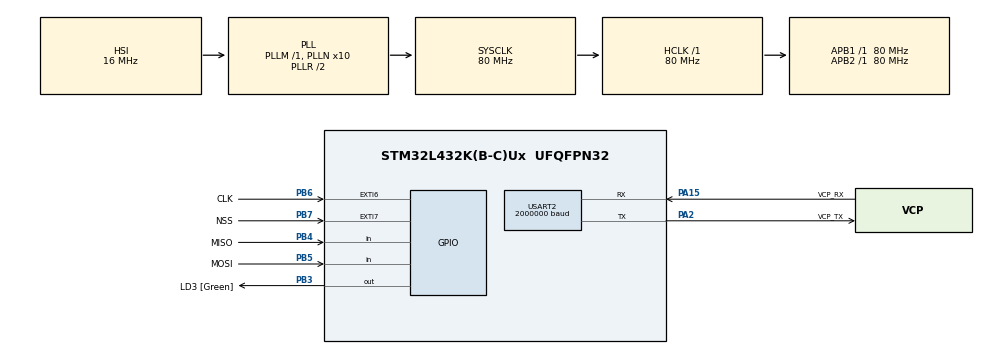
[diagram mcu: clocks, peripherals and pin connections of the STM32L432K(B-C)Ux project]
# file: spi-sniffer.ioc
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Mcu.Family=STM32L4
Mcu.Name=STM32L432K(B-C)Ux
Mcu.Package=UFQFPN32
NVIC.EXTI9_5_IRQn=true\:0\:0\:false\:false\:true\:true
NVIC.PriorityGroup=NVIC_PRIORITYGROUP_4
PA0.GPIO_Label=MCO [High speed clock in]
PA0.Mode=HSE-External-Clock-Source-for-LittleOrca
PA0.Signal=RCC_CK_IN
PA13\ (JTMS-SWDIO).GPIO_Label=SWDIO
PA13\ (JTMS-SWDIO).Mode=Serial_Wire
PA13\ (JTMS-SWDIO).Signal=SYS_JTMS-SWDIO
PA14\ (JTCK-SWCLK).GPIO_Label=SWCLK
PA14\ (JTCK-SWCLK).Mode=Serial_Wire
PA14\ (JTCK-SWCLK).Signal=SYS_JTCK-SWCLK
PA15\ (JTDI).GPIO_Label=VCP_RX
PA15\ (JTDI).Mode=Asynchronous
PA15\ (JTDI).Signal=USART2_RX
PA2.GPIO_Label=VCP_TX
PA2.Mode=Asynchronous
PA2.Signal=USART2_TX
PB3\ (JTDO-TRACESWO).GPIO_Label=LD3 [Green]
PB3\ (JTDO-TRACESWO).Signal=GPIO_Output
PB4\ (NJTRST).GPIO_Label=MISO
PB4\ (NJTRST).Signal=GPIO_Input
PB5.GPIO_Label=MOSI
PB5.Signal=GPIO_Input
PB6.GPIO_Label=CLK
PB6.GPIO_ModeDefaultEXTI=GPIO_MODE_IT_RISING
PB6.GPIO_PuPd=GPIO_PULLUP
PB6.Signal=GPXTI6
PB7.GPIO_Label=NSS
PB7.GPIO_ModeDefaultEXTI=GPIO_MODE_IT_RISING_FALLING
PB7.Signal=GPXTI7
PC14-OSC32_IN\ (PC14).Mode=LSE-External-Oscillator
PC14-OSC32_IN\ (PC14).Signal=RCC_OSC32_IN
PC15-OSC32_OUT\ (PC15).Mode=LSE-External-Oscillator
PC15-OSC32_OUT\ (PC15).Signal=RCC_OSC32_OUT
ProjectManager.HeapSize=0x200
ProjectManager.StackSize=0x400
ProjectManager.TargetToolchain=TrueSTUDIO
RCC.ADCFreq_Value=64000000
RCC.AHBFreq_Value=80000000
RCC.APB1Freq_Value=80000000
RCC.APB1TimFreq_Value=80000000
RCC.APB2Freq_Value=80000000
RCC.APB2TimFreq_Value=80000000
RCC.CortexFreq_Value=80000000
RCC.HCLKFreq_Value=80000000
RCC.HSE_VALUE=8000000
RCC.HSI16_VALUE=16000000
RCC.HSI48_VALUE=48000000
RCC.HSI_VALUE=16000000
RCC.MSI_VALUE=4000000
RCC.PLLMUL=RCC_PLLMUL_4
RCC.PLLN=10
RCC.PLLSourceVirtual=RCC_PLLSOURCE_HSI
RCC.SYSCLKFreq_VALUE=80000000
RCC.SYSCLKSource=RCC_SYSCLKSOURCE_PLLCLK
RCC.USBFreq_Value=64000000
RCC.VCOOutputFreq_Value=160000000
USART2.BaudRate=2000000
USART2.VirtualMode-Asynchronous=VM_ASYNC
board=NUCLEO-L432KC

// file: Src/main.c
/**
  ******************************************************************************
  * @file           : main.c
  * @brief          : Main program body
  ******************************************************************************
  ** This notice applies to any and all portions of this file
  * that are not between comment pairs USER CODE BEGIN and
  * USER CODE END. Other portions of this file, whether
  * inserted by the user or by software development tools
  * are owned by their respective copyright owners.
  *
  * COPYRIGHT(c) 2018 STMicroelectronics
  *
  * Redistribution and use in source and binary forms, with or without modification,
  * are permitted provided that the following conditions are met:
  *   1. Redistributions of source code must retain the above copyright notice,
  *      this list of conditions and the following disclaimer.
  *   2. Redistributions in binary form must reproduce the above copyright notice,
  *      this list of conditions and the following disclaimer in the documentation
  *      and/or other materials provided with the distribution.
  *   3. Neither the name of STMicroelectronics nor the names of its contributors
  *      may be used to endorse or promote products derived from this software
  *      without specific prior written permission.
  *
  * THIS SOFTWARE IS PROVIDED BY THE COPYRIGHT HOLDERS AND CONTRIBUTORS "AS IS"
  * AND ANY EXPRESS OR IMPLIED WARRANTIES, INCLUDING, BUT NOT LIMITED TO, THE
  * IMPLIED WARRANTIES OF MERCHANTABILITY AND FITNESS FOR A PARTICULAR PURPOSE ARE
  * DISCLAIMED. IN NO EVENT SHALL THE COPYRIGHT HOLDER OR CONTRIBUTORS BE LIABLE
  * FOR ANY DIRECT, INDIRECT, INCIDENTAL, SPECIAL, EXEMPLARY, OR CONSEQUENTIAL
  * DAMAGES (INCLUDING, BUT NOT LIMITED TO, PROCUREMENT OF SUBSTITUTE GOODS OR
  * SERVICES; LOSS OF USE, DATA, OR PROFITS; OR BUSINESS INTERRUPTION) HOWEVER
  * CAUSED AND ON ANY THEORY OF LIABILITY, WHETHER IN CONTRACT, STRICT LIABILITY,
  * OR TORT (INCLUDING NEGLIGENCE OR OTHERWISE) ARISING IN ANY WAY OUT OF THE USE
  * OF THIS SOFTWARE, EVEN IF ADVISED OF THE POSSIBILITY OF SUCH DAMAGE.
  *
  ******************************************************************************
  */
#include "main.h"
#include "stm32l4xx_hal.h"

/* USER CODE BEGIN Includes */
#include "uart.h"
#include "string.h"
/* USER CODE END Includes */

UART_HandleTypeDef huart2;

/* USER CODE BEGIN PV */
/* Private variables ---------------------------------------------------------*/
uint8_t currentMISO;
uint8_t currentMOSI;
uint8_t bitsFilled = 0;

uint8_t resetCaused = 0;
uint8_t overSized = 0;

#define HIDE_FF 0 // Hide 0xff values (set to 2 to make them blue)
#define DISPLAYSIZE 16 // Amount of data to display by default
#define STORESIZE 3 * 16 // Amount of data to store
uint8_t miso[STORESIZE]; // Safety margin for memory allocation
uint8_t mosi[STORESIZE];
volatile uint16_t displayPosition = 0;

uint8_t nssTrigger[STORESIZE] = { 0 };
/* USER CODE END PV */

void SystemClock_Config(void);
static void MX_GPIO_Init(void);
static void MX_USART2_UART_Init(void);

/* USER CODE BEGIN PFP */
/* Private function prototypes -----------------------------------------------*/
inline static void printOneChar(uint8_t character, uint8_t isMOSI) {
#if (HIDE_FF == 1)
	if (character == 0xff) {
		UART_printf("  ");
	} else {
		UART_printf("%02x", character);
	}
#elif (HIDE_FF == 2)
	if (character == 0xff) {
		if (isMOSI) {
			UART_printf("\e[34m%02x\e[33m", character);
		} else {
			UART_printf("\e[34m%02x\e[36m", character);
		}
	} else {
		UART_printf("%02x", character);
	}
#else
	UART_printf("%02x", character);
#endif
}

inline static void printNSS(uint8_t nss, uint8_t isMOSI) {
	if (nss & 0x08) { // NSS asserted
		if (nss & 0x03) { // NSS changed between two states
			if (nss & 0x04) { // NSS last value was HIGH
				if (isMOSI) {
					UART_printf("\e[31m\u292f\e[33m");
				} else {
					UART_printf("\e[31m\u292f\e[36m");
				}
			} else { // NSS last value was LOW
				if (isMOSI) {
					UART_printf("\e[32m\u2930\e[33m");
				} else {
					UART_printf("\e[32m\u2930\e[36m");
				}
			}
		} else if (nss & 0x01) { // NSS value was LOW
			if (isMOSI) {
				UART_printf("\e[32m\u2925\e[33m");
			} else {
				UART_printf("\e[32m\u2925\e[36m");
			}
		} else if (nss & 0x02) { // NSS value was HIGH
			if (isMOSI) {
				UART_printf("\e[31m\u2924\e[33m");
			} else {
				UART_printf("\e[31m\u2924\e[36m");
			}
		}
	} else {
		UART_printf(" ");
	}
}
/* USER CODE END PFP */

/* USER CODE BEGIN 0 */
void HAL_GPIO_EXTI_Callback(uint16_t GPIO_Pin) {
	volatile uint8_t state = HAL_GPIO_ReadPin(NSS_GPIO_Port, NSS_Pin);
	if (GPIO_Pin == NSS_Pin) {
		// NSS changed
		nssTrigger[displayPosition] |= 0x08 | (1 << state);
		// Store the final state
		if (state) {
			nssTrigger[displayPosition] |= 0x04;
		} else {
			nssTrigger[displayPosition] &= ~0x04;
		}
	} else if (GPIO_Pin == CLK_Pin) {
		HAL_GPIO_WritePin(LD3_GPIO_Port, LD3_Pin, GPIO_PIN_SET);
		// CLK asserted
		currentMISO = ((currentMISO << 1) & 0xff) | HAL_GPIO_ReadPin(MISO_GPIO_Port, MISO_Pin);
		currentMOSI = ((currentMOSI << 1) & 0xff) | HAL_GPIO_ReadPin(MOSI_GPIO_Port, MOSI_Pin);

		if (++bitsFilled == 8) {
			// An entire byte has been filled. Push it back on the display arrays
			miso[displayPosition] = currentMISO;
			mosi[displayPosition] = currentMOSI;
			displayPosition++;
			bitsFilled = 0;

			if (displayPosition >= STORESIZE) {
				// Back to the beginning
				displayPosition = 0;
				overSized = 1;
			}
		}
		HAL_GPIO_WritePin(LD3_GPIO_Port, LD3_Pin, GPIO_PIN_RESET);
	} else {
		Error_Handler();
	}
}
/* USER CODE END 0 */

int main(void)
{

  /* MCU Configuration----------------------------------------------------------*/

  /* Reset of all peripherals, Initializes the Flash interface and the Systick. */
  HAL_Init();

  /* Configure the system clock */
  SystemClock_Config();

  /* Initialize all configured peripherals */
  MX_GPIO_Init();
  MX_USART2_UART_Init();
  /* USER CODE BEGIN 2 */
  // Reset the terminal formatting
  UART_printf("\e[0m");

  // Documentation
  UART_printf("\r\n ** SPI Sniffer **\r\n");
	UART_printf("Key: \r\n");
	UART_printf("\e[33mOrange\e[39m: \e[1;33mMOSI\e[0;39m (Master Out - Serial In ) \r\n");
	UART_printf("\e[36m  Cyan\e[39m: \e[1;36mMISO\e[0;39m (Master In  - Serial Out) \r\n");
	UART_printf("\e[32m  \u2925 \u2930\e[39m : NSS LOW \r\n");
	UART_printf("\e[31m  \u2924 \u292f\e[39m : NSS HIGH \r\n");
	UART_printf("        (Double arrow means NSS has switched state twice)\r\n");
	UART_printf("\e[39m   !!! means an error has occurred\r\n");
  UART_printf(" Enjoy! \r\n\r\n");

  uint32_t lastTime = HAL_GetTick();
  uint32_t lastSeparatorTime = HAL_GetTick();
  uint8_t separatorShown = 0;

  uint8_t misoPrint[STORESIZE]; // Safety margin for memory allocation
  uint8_t mosiPrint[STORESIZE];
  uint8_t  nssPrint[STORESIZE];

  // Force a calculation
  HAL_GPIO_EXTI_Callback(NSS_Pin);
  for (int i = 0; i < 8; i++) HAL_GPIO_EXTI_Callback(CLK_Pin);
  /* USER CODE END 2 */

  /* Infinite loop */
  /* USER CODE BEGIN WHILE */
  while (1)
  {
  	if (displayPosition >= DISPLAYSIZE || HAL_GetTick() - lastTime >= 100) {
  		uint16_t oldDisplayPosition = displayPosition; // Make sure it doesn't change
  		// Copy the data so no one writes on it
  		memcpy(misoPrint, miso, oldDisplayPosition);
  		memcpy(mosiPrint, mosi, oldDisplayPosition);
  		memcpy(nssPrint, nssTrigger, oldDisplayPosition);
  		memset(nssTrigger, 0, oldDisplayPosition);

  		if (displayPosition != oldDisplayPosition) {
  			UART_printf("!!!COW\r\n"); // copy overwrite
  		}

  		displayPosition = 0; // Lose data instead of printing corrupt data
  		if (oldDisplayPosition > 0) {
  			// Data exists
  			UART_printf("\e[33m");

				for (int i = 0; i < oldDisplayPosition; i++) {
					printOneChar(mosiPrint[i], 1);
					printNSS(nssPrint[i], 1);
				}
				UART_printf("\e[39m\r\n\e[36m");
				for (int i = 0; i < oldDisplayPosition; i++) {
					printOneChar(misoPrint[i], 0);
					printNSS(nssPrint[i], 0);

				}
				UART_printf("\e[39m\r\n");

				separatorShown = 0;
				lastSeparatorTime = HAL_GetTick();
  		}

  		if (HAL_GetTick() - lastTime >= 100){
  			if (oldDisplayPosition > 0) {
  				UART_printf("\r\n"); // Print a newline to separate old data
  			}
  			if (bitsFilled != 0) {
  				UART_printf("!!!IR\r\n");
  				bitsFilled = 0;
  			}
  		}
  		if (resetCaused) {
  			UART_printf("!!!RR\r\n");
  			resetCaused = 0;
  		}
  		if (overSized) {
  			UART_printf("!!!OS\r\n");
  			overSized = 0;
  		}

  		if (!separatorShown && HAL_GetTick() - lastSeparatorTime >= 1000) {
  			// A lot of time has passed. Print a separator.
				UART_printf("\e[1;39m====================================================================================\e[0;39m\r\n\r\n");
				separatorShown = 1;
  		}

			lastTime = HAL_GetTick();

			__WFI(); // Power saving
  	}
  /* USER CODE END WHILE */

  }

}

void SystemClock_Config(void)
{

  RCC_OscInitTypeDef RCC_OscInitStruct;
  RCC_ClkInitTypeDef RCC_ClkInitStruct;
  RCC_PeriphCLKInitTypeDef PeriphClkInit;

    /**Initializes the CPU, AHB and APB busses clocks
    */
  RCC_OscInitStruct.OscillatorType = RCC_OSCILLATORTYPE_HSI;
  RCC_OscInitStruct.HSIState = RCC_HSI_ON;
  RCC_OscInitStruct.HSICalibrationValue = 16;
  RCC_OscInitStruct.PLL.PLLState = RCC_PLL_ON;
  RCC_OscInitStruct.PLL.PLLSource = RCC_PLLSOURCE_HSI;
  RCC_OscInitStruct.PLL.PLLM = 1;
  RCC_OscInitStruct.PLL.PLLN = 10;
  RCC_OscInitStruct.PLL.PLLP = RCC_PLLP_DIV7;
  RCC_OscInitStruct.PLL.PLLQ = RCC_PLLQ_DIV2;
  RCC_OscInitStruct.PLL.PLLR = RCC_PLLR_DIV2;
  if (HAL_RCC_OscConfig(&RCC_OscInitStruct) != HAL_OK)
  {
    _Error_Handler(__FILE__, __LINE__);
  }

    /**Initializes the CPU, AHB and APB busses clocks
    */
  RCC_ClkInitStruct.ClockType = RCC_CLOCKTYPE_HCLK|RCC_CLOCKTYPE_SYSCLK
                              |RCC_CLOCKTYPE_PCLK1|RCC_CLOCKTYPE_PCLK2;
  RCC_ClkInitStruct.SYSCLKSource = RCC_SYSCLKSOURCE_PLLCLK;
  RCC_ClkInitStruct.AHBCLKDivider = RCC_SYSCLK_DIV1;
  RCC_ClkInitStruct.APB1CLKDivider = RCC_HCLK_DIV1;
  RCC_ClkInitStruct.APB2CLKDivider = RCC_HCLK_DIV1;

  if (HAL_RCC_ClockConfig(&RCC_ClkInitStruct, FLASH_LATENCY_4) != HAL_OK)
  {
    _Error_Handler(__FILE__, __LINE__);
  }

  PeriphClkInit.PeriphClockSelection = RCC_PERIPHCLK_USART2;
  PeriphClkInit.Usart2ClockSelection = RCC_USART2CLKSOURCE_PCLK1;
  if (HAL_RCCEx_PeriphCLKConfig(&PeriphClkInit) != HAL_OK)
  {
    _Error_Handler(__FILE__, __LINE__);
  }

    /**Configure the main internal regulator output voltage
    */
  if (HAL_PWREx_ControlVoltageScaling(PWR_REGULATOR_VOLTAGE_SCALE1) != HAL_OK)
  {
    _Error_Handler(__FILE__, __LINE__);
  }

    /**Configure the Systick interrupt time
    */
  HAL_SYSTICK_Config(HAL_RCC_GetHCLKFreq()/1000);

    /**Configure the Systick
    */
  HAL_SYSTICK_CLKSourceConfig(SYSTICK_CLKSOURCE_HCLK);

  /* SysTick_IRQn interrupt configuration */
  HAL_NVIC_SetPriority(SysTick_IRQn, 0, 0);
}

/* USART2 init function */
static void MX_USART2_UART_Init(void)
{

  huart2.Instance = USART2;
  huart2.Init.BaudRate = 2000000;
  huart2.Init.WordLength = UART_WORDLENGTH_8B;
  huart2.Init.StopBits = UART_STOPBITS_1;
  huart2.Init.Parity = UART_PARITY_NONE;
  huart2.Init.Mode = UART_MODE_TX_RX;
  huart2.Init.HwFlowCtl = UART_HWCONTROL_NONE;
  huart2.Init.OverSampling = UART_OVERSAMPLING_16;
  huart2.Init.OneBitSampling = UART_ONE_BIT_SAMPLE_DISABLE;
  huart2.AdvancedInit.AdvFeatureInit = UART_ADVFEATURE_NO_INIT;
  if (HAL_UART_Init(&huart2) != HAL_OK)
  {
    _Error_Handler(__FILE__, __LINE__);
  }

}

/** Configure pins as
        * Analog
        * Input
        * Output
        * EVENT_OUT
        * EXTI
*/
static void MX_GPIO_Init(void)
{

  GPIO_InitTypeDef GPIO_InitStruct;

  /* GPIO Ports Clock Enable */
  __HAL_RCC_GPIOC_CLK_ENABLE();
  __HAL_RCC_GPIOA_CLK_ENABLE();
  __HAL_RCC_GPIOB_CLK_ENABLE();

  /*Configure GPIO pin Output Level */
  HAL_GPIO_WritePin(LD3_GPIO_Port, LD3_Pin, GPIO_PIN_RESET);

  /*Configure GPIO pin : LD3_Pin */
  GPIO_InitStruct.Pin = LD3_Pin;
  GPIO_InitStruct.Mode = GPIO_MODE_OUTPUT_PP;
  GPIO_InitStruct.Pull = GPIO_NOPULL;
  GPIO_InitStruct.Speed = GPIO_SPEED_FREQ_LOW;
  HAL_GPIO_Init(LD3_GPIO_Port, &GPIO_InitStruct);

  /*Configure GPIO pins : MISO_Pin MOSI_Pin */
  GPIO_InitStruct.Pin = MISO_Pin|MOSI_Pin;
  GPIO_InitStruct.Mode = GPIO_MODE_INPUT;
  GPIO_InitStruct.Pull = GPIO_NOPULL;
  HAL_GPIO_Init(GPIOB, &GPIO_InitStruct);

  /*Configure GPIO pin : CLK_Pin */
  GPIO_InitStruct.Pin = CLK_Pin;
  GPIO_InitStruct.Mode = GPIO_MODE_IT_RISING;
  GPIO_InitStruct.Pull = GPIO_PULLUP;
  HAL_GPIO_Init(CLK_GPIO_Port, &GPIO_InitStruct);

  /*Configure GPIO pin : NSS_Pin */
  GPIO_InitStruct.Pin = NSS_Pin;
  GPIO_InitStruct.Mode = GPIO_MODE_IT_RISING_FALLING;
  GPIO_InitStruct.Pull = GPIO_NOPULL;
  HAL_GPIO_Init(NSS_GPIO_Port, &GPIO_InitStruct);

  /* EXTI interrupt init*/
  HAL_NVIC_SetPriority(EXTI9_5_IRQn, 0, 0);
  HAL_NVIC_EnableIRQ(EXTI9_5_IRQn);

}

void _Error_Handler(char *file, int line)
{
  while(1)
  {
  }
}

/************************ (C) COPYRIGHT STMicroelectronics *****END OF FILE****/
